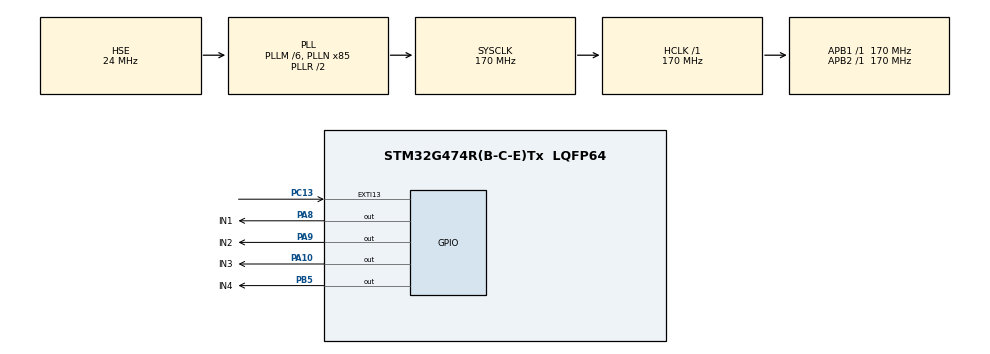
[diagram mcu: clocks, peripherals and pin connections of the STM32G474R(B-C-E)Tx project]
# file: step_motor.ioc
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Mcu.Family=STM32G4
Mcu.Name=STM32G474R(B-C-E)Tx
Mcu.Package=LQFP64
NVIC.EXTI15_10_IRQn=true\:0\:0\:false\:false\:true\:true\:true\:true
NVIC.PriorityGroup=NVIC_PRIORITYGROUP_4
PA10.GPIO_Label=IN3
PA10.GPIO_Speed=GPIO_SPEED_FREQ_MEDIUM
PA10.Signal=GPIO_Output
PA8.GPIO_Label=IN1
PA8.GPIO_Speed=GPIO_SPEED_FREQ_MEDIUM
PA8.Signal=GPIO_Output
PA9.GPIO_Label=IN2
PA9.GPIO_Speed=GPIO_SPEED_FREQ_MEDIUM
PA9.Signal=GPIO_Output
PB5.GPIO_Label=IN4
PB5.GPIO_Speed=GPIO_SPEED_FREQ_MEDIUM
PB5.Signal=GPIO_Output
PC13.Signal=GPXTI13
PF0-OSC_IN.Mode=HSE-External-Oscillator
PF0-OSC_IN.Signal=RCC_OSC_IN
PF1-OSC_OUT.Mode=HSE-External-Oscillator
PF1-OSC_OUT.Signal=RCC_OSC_OUT
ProjectManager.HeapSize=0x200
ProjectManager.StackSize=0x400
ProjectManager.TargetToolchain=STM32CubeIDE
RCC.ADC12Freq_Value=170000000
RCC.ADC345Freq_Value=170000000
RCC.AHBFreq_Value=170000000
RCC.APB1Freq_Value=170000000
RCC.APB1TimFreq_Value=170000000
RCC.APB2Freq_Value=170000000
RCC.APB2TimFreq_Value=170000000
RCC.CortexFreq_Value=170000000
RCC.EXTERNAL_CLOCK_VALUE=12288000
RCC.EnbaleCSS=true
RCC.HCLKFreq_Value=170000000
RCC.HSE_VALUE=24000000
RCC.HSI48_VALUE=48000000
RCC.HSI_VALUE=16000000
RCC.LSE_VALUE=32768
RCC.PLLM=RCC_PLLM_DIV6
RCC.PLLN=85
RCC.PLLSourceVirtual=RCC_PLLSOURCE_HSE
RCC.SYSCLKFreq_VALUE=170000000
RCC.SYSCLKSource=RCC_SYSCLKSOURCE_PLLCLK
RCC.USBFreq_Value=170000000
RCC.VCOOutputFreq_Value=340000000
VP_SYS_VS_DBSignals.Mode=DisableDeadBatterySignals
board=custom

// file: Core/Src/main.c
/* USER CODE BEGIN Header */
/**
  ******************************************************************************
  * @file           : main.c
  * @brief          : Main program body
  ******************************************************************************
  * @attention
  *
  * Copyright (c) 2026 STMicroelectronics.
  * All rights reserved.
  *
  * This software is licensed under terms that can be found in the LICENSE file
  * in the root directory of this software component.
  * If no LICENSE file comes with this software, it is provided AS-IS.
  *
  ******************************************************************************
  */
/*
 * [프로그램 개요] 버튼(PC13)을 누르면 스텝모터를 STEPS_PER_PRESS 칸 돌린다.
 *
 * 하드웨어
 *  - 모터: 28BYJ-48 / 드라이버: ULN2003
 *  - IN1=PA8, IN2=PA9, IN3=PA10, IN4=PB5 (Output Push Pull)
 *  - 버튼: PC13 (EXTI13, Rising edge 인터럽트)
 *
 * 동작 순서
 *  1) 버튼을 누르면 Rising edge가 감지되어 인터럽트 발생
 *  2) EXTI15_10_IRQHandler -> HAL_GPIO_EXTI_IRQHandler -> HAL_GPIO_EXTI_Callback 순서로 호출
 *  3) 콜백은 채터링을 걸러 낸 뒤 step_request만 1로 만들고 바로 끝남
 *  4) main의 while문이 step_request를 보고 모터를 돌림
 *
 * 모터를 콜백에서 돌리지 않는 이유
 *  - 인터럽트 안에서는 오래 머물면 안 된다.
 *  - HAL_Delay()는 SysTick 인터럽트로 시간을 재는데, 이 EXTI는 우선순위가 0이고
 *    SysTick은 15라서 콜백 안에서는 시간이 흐르지 않아 멈출 수 있다.
 */
/* USER CODE END Header */
#include "main.h"
#include "gpio.h"

/* USER CODE BEGIN PD */

/* 버튼 한 번에 돌릴 칸 수.
 * 1칸은 약 0.18도라서 1이면 축이 도는 것이 거의 보이지 않는다.
 * 눈으로 확인하려면 256(약 45도)으로 바꾼다. (약 2048칸 = 1바퀴) */
#define STEPS_PER_PRESS 2048

/* USER CODE END PD */

/* USER CODE BEGIN PV */

/* 코일 구동 패턴 (2상 여자 풀스텝). bit0~3 = IN1~IN4, 1이면 해당 코일 ON.
 * 항상 코일 2개를 켜고, 표를 순서대로 지나가면 모터가 한 방향으로 돈다.
 *   0x3 = 0011 : IN1, IN2
 *   0x6 = 0110 : IN2, IN3
 *   0xC = 1100 : IN3, IN4
 *   0x9 = 1001 : IN4, IN1 */
static const uint8_t step_table[4] = {0x3, 0x6, 0xC, 0x9};

/* step_table에서 현재 출력 중인 위치(0~3). 다음 칸은 여기서 이어서 진행한다. */
static uint8_t step_index = 0;

/* 모터를 돌려 달라는 요청 표시. 콜백이 1로 만들고 main이 확인 후 0으로 지운다.
 * 인터럽트와 main이 함께 쓰는 변수라서, 컴파일러가 읽기를 생략하지 않도록 volatile을 붙인다. */
volatile uint8_t step_request = 0;

/* USER CODE END PV */

void SystemClock_Config(void);
/* USER CODE BEGIN PFP */
static void Motor_Write(uint8_t pattern);
/* USER CODE END PFP */

int main(void)
{

  /* MCU Configuration--------------------------------------------------------*/

  /* Reset of all peripherals, Initializes the Flash interface and the Systick. */
  HAL_Init();

  /* Configure the system clock */
  SystemClock_Config();

  /* Initialize all configured peripherals */
  MX_GPIO_Init();

  /* Infinite loop */
  while (1)
  {

    /* USER CODE BEGIN 3 */
    if (step_request)
    {
        step_request = 0;   // 요청을 지워서 버튼 한 번에 한 번만 실행

        for (int i = 0; i < STEPS_PER_PRESS; i++)
        {
            step_index = (step_index + 1) & 0x3;   // 0->1->2->3->0 순환 (% 4와 같음)
            Motor_Write(step_table[step_index]);   // 다음 패턴을 출력해서 한 칸 이동
            HAL_Delay(10);                          // 모터가 따라올 시간. 너무 짧으면 돌지 못하고 떤다
        }
    }
  }
  /* USER CODE END 3 */
}

void SystemClock_Config(void)
{
  RCC_OscInitTypeDef RCC_OscInitStruct = {0};
  RCC_ClkInitTypeDef RCC_ClkInitStruct = {0};

  /** Configure the main internal regulator output voltage
  */
  HAL_PWREx_ControlVoltageScaling(PWR_REGULATOR_VOLTAGE_SCALE1_BOOST);

  /** Initializes the RCC Oscillators according to the specified parameters
  * in the RCC_OscInitTypeDef structure.
  */
  RCC_OscInitStruct.OscillatorType = RCC_OSCILLATORTYPE_HSE;
  RCC_OscInitStruct.HSEState = RCC_HSE_ON;
  RCC_OscInitStruct.PLL.PLLState = RCC_PLL_ON;
  RCC_OscInitStruct.PLL.PLLSource = RCC_PLLSOURCE_HSE;
  RCC_OscInitStruct.PLL.PLLM = RCC_PLLM_DIV6;
  RCC_OscInitStruct.PLL.PLLN = 85;
  RCC_OscInitStruct.PLL.PLLP = RCC_PLLP_DIV2;
  RCC_OscInitStruct.PLL.PLLQ = RCC_PLLQ_DIV2;
  RCC_OscInitStruct.PLL.PLLR = RCC_PLLR_DIV2;
  if (HAL_RCC_OscConfig(&RCC_OscInitStruct) != HAL_OK)
  {
    Error_Handler();
  }

  /** Initializes the CPU, AHB and APB buses clocks
  */
  RCC_ClkInitStruct.ClockType = RCC_CLOCKTYPE_HCLK|RCC_CLOCKTYPE_SYSCLK
                              |RCC_CLOCKTYPE_PCLK1|RCC_CLOCKTYPE_PCLK2;
  RCC_ClkInitStruct.SYSCLKSource = RCC_SYSCLKSOURCE_PLLCLK;
  RCC_ClkInitStruct.AHBCLKDivider = RCC_SYSCLK_DIV1;
  RCC_ClkInitStruct.APB1CLKDivider = RCC_HCLK_DIV1;
  RCC_ClkInitStruct.APB2CLKDivider = RCC_HCLK_DIV1;

  if (HAL_RCC_ClockConfig(&RCC_ClkInitStruct, FLASH_LATENCY_4) != HAL_OK)
  {
    Error_Handler();
  }

  /** Enables the Clock Security System
  */
  HAL_RCC_EnableCSS();
}

/* USER CODE BEGIN 4 */

/* 패턴의 각 비트를 IN1~IN4 핀에 출력한다.
 * pattern: bit0~3 = IN1~IN4. 예) 0x3이면 IN1, IN2 High / IN3, IN4 Low. 0이면 코일 전부 OFF */
static void Motor_Write(uint8_t pattern)
{
    HAL_GPIO_WritePin(IN1_GPIO_Port, IN1_Pin, (pattern & 0x1) ? GPIO_PIN_SET : GPIO_PIN_RESET);
    HAL_GPIO_WritePin(IN2_GPIO_Port, IN2_Pin, (pattern & 0x2) ? GPIO_PIN_SET : GPIO_PIN_RESET);
    HAL_GPIO_WritePin(IN3_GPIO_Port, IN3_Pin, (pattern & 0x4) ? GPIO_PIN_SET : GPIO_PIN_RESET);
    HAL_GPIO_WritePin(IN4_GPIO_Port, IN4_Pin, (pattern & 0x8) ? GPIO_PIN_SET : GPIO_PIN_RESET);
}

/* EXTI 인터럽트마다 HAL이 호출하는 함수.
 * HAL에 있는 같은 이름의 __weak 빈 함수를 이 함수가 대신한다. 이름이 틀리면 호출되지 않는다.
 * GPIO_Pin: 인터럽트가 발생한 핀 번호 */
void HAL_GPIO_EXTI_Callback(uint16_t GPIO_Pin)
{
    /* 마지막으로 입력을 인정한 시각(ms). static이라 함수가 끝나도 값이 유지된다. */
    static uint32_t last_tick = 0;

    /* 채터링 방지: 버튼 접점이 떨리면 한 번 눌러도 인터럽트가 여러 번 들어오므로,
     * 직전 입력 후 50 ms가 지나지 않은 입력은 무시한다. */
    if (GPIO_Pin == GPIO_PIN_13 && HAL_GetTick() - last_tick > 50)
    {
        last_tick = HAL_GetTick();
        step_request = 1;   // 실제 모터 구동은 main의 while문이 한다
    }
}

/* USER CODE END 4 */

void Error_Handler(void)
{
  __disable_irq();
  while (1)
  {
  }
}
